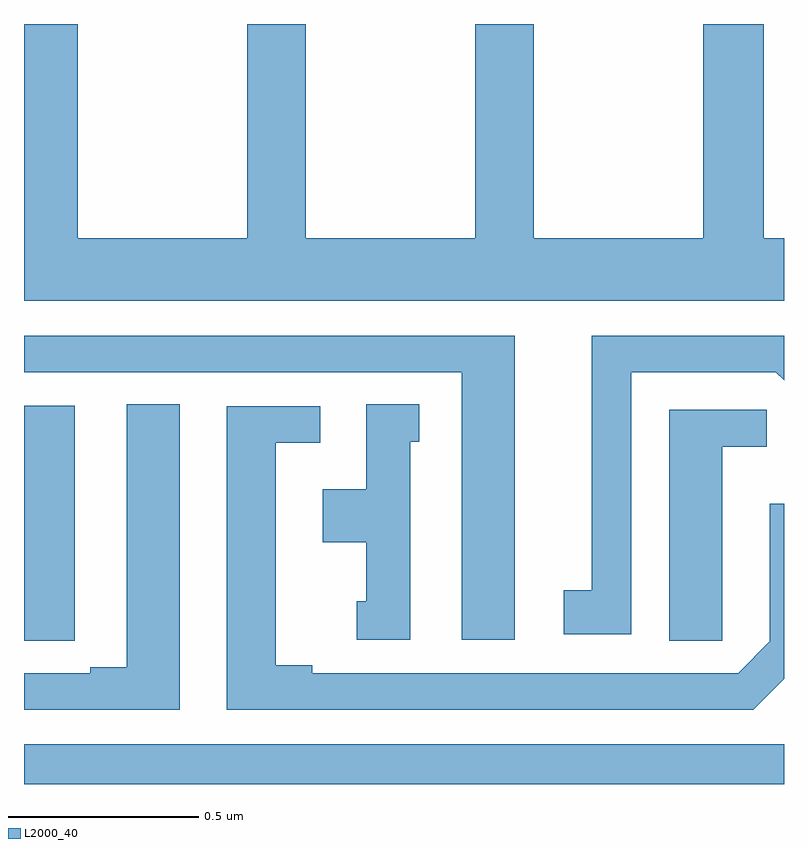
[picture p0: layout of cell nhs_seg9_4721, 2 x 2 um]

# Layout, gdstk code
import gdstk
lib = gdstk.Library(unit=1e-6, precision=1e-09)
def R(c, l, rs):  # rectangles x0, y0, x1, y1
    for r in rs: c.add(gdstk.rectangle(r[:2], r[2:], *l))
def P(c, l, *ps):  # polygons
    for p in ps: c.add(gdstk.Polygon(p, *l))
L2000_40 = (2000, 40)

nhs_seg9_4721 = lib.new_cell('nhs_seg9_4721')
R(nhs_seg9_4721, L2000_40, [(170,1176.5,172,1176.604)])
P(nhs_seg9_4721, L2000_40, [(172,1177.936),(171.947,1177.936),(171.947,1178.5),(171.787,1178.5),(171.787,1177.936),(171.342,1177.936),(171.342,1178.5),(171.187,1178.5),(171.187,1177.936),(170.742,1177.936),(170.742,1178.5),(170.587,1178.5),(170.587,1177.936),(170.142,1177.936),(170.142,1178.5),(170,1178.5),(170,1177.772),(172,1177.772)],
  [(171.292,1177.68),(170,1177.68),(170,1177.584),(171.152,1177.584),(171.152,1176.879),(171.292,1176.879)],
  [(171.598,1177.584),(171.978,1177.584),(172,1177.562),(172,1177.68),(171.494,1177.68),(171.494,1177.01),(171.42,1177.01),(171.42,1176.894),(171.598,1176.894)],
  [(170.41,1177.499),(170.27,1177.499),(170.27,1176.807),(170.174,1176.807),(170.174,1176.792),(170,1176.792),(170,1176.696),(170.41,1176.696)],
  [(171.016,1177.401),(171.04,1177.401),(171.04,1177.499),(170.9,1177.499),(170.9,1177.276),(170.786,1177.276),(170.786,1177.136),(170.9,1177.136),(170.9,1176.981),(170.876,1176.981),(170.876,1176.879),(171.016,1176.879)],
  [(170.133,1176.985),(170.134,1176.985),(170.134,1177.495),(170,1177.495),(170,1176.877),(170.133,1176.877)],
  [(172,1176.777),(172,1177.237),(171.963,1177.237),(171.963,1176.876),(171.879,1176.792),(170.758,1176.792),(170.758,1176.812),(170.662,1176.812),(170.662,1177.398),(170.779,1177.398),(170.779,1177.494),(170.534,1177.494),(170.534,1176.696),(171.919,1176.696)],
  [(171.837,1176.985),(171.838,1176.985),(171.838,1177.388),(171.955,1177.388),(171.955,1177.485),(171.698,1177.485),(171.698,1176.877),(171.837,1176.877)])

lib.write_gds('nhs_seg9_4721.gds')
